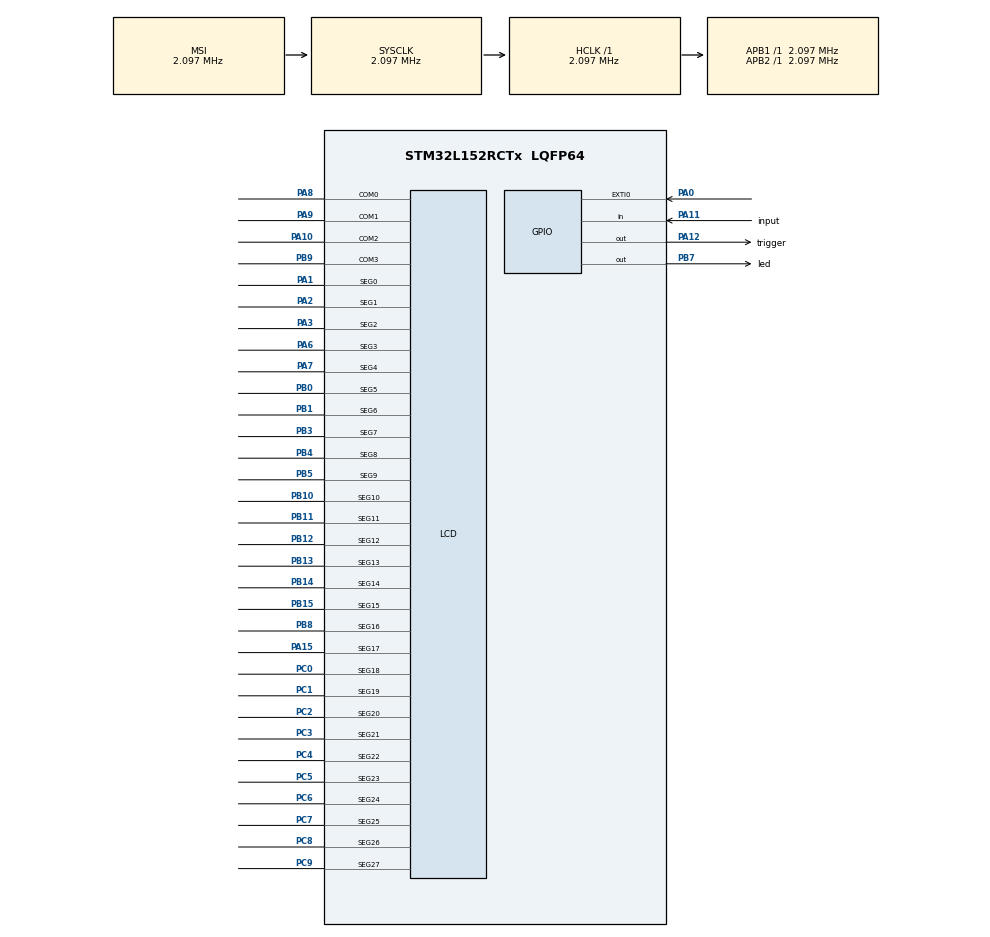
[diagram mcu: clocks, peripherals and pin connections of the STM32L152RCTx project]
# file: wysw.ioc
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Mcu.Family=STM32L1
Mcu.Name=STM32L152RCTx
Mcu.Package=LQFP64
NVIC.EXTI0_IRQn=true\:0\:0\:false\:false\:true\:true
NVIC.PriorityGroup=NVIC_PRIORITYGROUP_4
NVIC.TIM2_IRQn=true\:0\:0\:false\:false\:true\:true
PA0-WKUP1.Signal=GPXTI0
PA1.Mode=SEG0
PA1.Signal=LCD_SEG0
PA10.Mode=1/4 Duty Cycle
PA10.Signal=LCD_COM2
PA11.GPIO_Label=input
PA11.Signal=GPIO_Input
PA12.GPIO_Label=trigger
PA12.Signal=GPIO_Output
PA15.Mode=SEG17
PA15.Signal=LCD_SEG17
PA2.Mode=SEG1
PA2.Signal=LCD_SEG1
PA3.Mode=SEG2
PA3.Signal=LCD_SEG2
PA6.Mode=SEG3
PA6.Signal=LCD_SEG3
PA7.Mode=SEG4
PA7.Signal=LCD_SEG4
PA8.Mode=1/4 Duty Cycle
PA8.Signal=LCD_COM0
PA9.Mode=1/4 Duty Cycle
PA9.Signal=LCD_COM1
PB0.Mode=SEG5
PB0.Signal=LCD_SEG5
PB1.Mode=SEG6
PB1.Signal=LCD_SEG6
PB10.Mode=SEG10
PB10.Signal=LCD_SEG10
PB11.Mode=SEG11
PB11.Signal=LCD_SEG11
PB12.Mode=SEG12
PB12.Signal=LCD_SEG12
PB13.Mode=SEG13
PB13.Signal=LCD_SEG13
PB14.Mode=SEG14
PB14.Signal=LCD_SEG14
PB15.Mode=SEG15
PB15.Signal=LCD_SEG15
PB3.Mode=SEG7
PB3.Signal=LCD_SEG7
PB4.Mode=SEG8
PB4.Signal=LCD_SEG8
PB5.Mode=SEG9
PB5.Signal=LCD_SEG9
PB7.GPIO_Label=led
PB7.Signal=GPIO_Output
PB8.Mode=SEG16
PB8.Signal=LCD_SEG16
PB9.Mode=1/4 Duty Cycle
PB9.Signal=LCD_COM3
PC0.Mode=SEG18
PC0.Signal=LCD_SEG18
PC1.Mode=SEG19
PC1.Signal=LCD_SEG19
PC14-OSC32_IN.Mode=LSE-External-Clock-Source
PC14-OSC32_IN.Signal=RCC_OSC32_IN
PC2.Mode=SEG20
PC2.Signal=LCD_SEG20
PC3.Mode=SEG21
PC3.Signal=LCD_SEG21
PC4.Mode=SEG22
PC4.Signal=LCD_SEG22
PC5.Mode=SEG23
PC5.Signal=LCD_SEG23
PC6.Mode=SEG24
PC6.Signal=LCD_SEG24
PC7.Mode=SEG25
PC7.Signal=LCD_SEG25
PC8.Mode=SEG26
PC8.Signal=LCD_SEG26
PC9.Mode=SEG27
PC9.Signal=LCD_SEG27
PH0-OSC_IN.Mode=HSE-External-Clock-Source
PH0-OSC_IN.Signal=RCC_OSC_IN
ProjectManager.HeapSize=0x200
ProjectManager.StackSize=0x400
ProjectManager.TargetToolchain=SW4STM32
RCC.AHBFreq_Value=2097000
RCC.APB1Freq_Value=2097000
RCC.APB2Freq_Value=2097000
RCC.HSE_VALUE=24000000
RCC.HSI_VALUE=16000000
RCC.LSE_VALUE=32768
RCC.MSI_VALUE=2097000
RCC.SYSCLKFreq_VALUE=2097000
RCC.VCOOutputFreq_Value=48000000
TIM2.Period=10
TIM2.Prescaler=15
VP_LCD_LCD_mux.Mode=Multiplex
VP_RTC_VS_RTC_Activate.Mode=RTC_Enabled
VP_TIM2_VS_ClockSourceINT.Mode=Internal
board=wysw

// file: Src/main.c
/**
  ******************************************************************************
  * @file           : main.c
  * @brief          : Main program body
  ******************************************************************************
  ** This notice applies to any and all portions of this file
  * that are not between comment pairs USER CODE BEGIN and
  * USER CODE END. Other portions of this file, whether
  * inserted by the user or by software development tools
  * are owned by their respective copyright owners.
  *
  * COPYRIGHT(c) 2018 STMicroelectronics
  *
  * Redistribution and use in source and binary forms, with or without modification,
  * are permitted provided that the following conditions are met:
  *   1. Redistributions of source code must retain the above copyright notice,
  *      this list of conditions and the following disclaimer.
  *   2. Redistributions in binary form must reproduce the above copyright notice,
  *      this list of conditions and the following disclaimer in the documentation
  *      and/or other materials provided with the distribution.
  *   3. Neither the name of STMicroelectronics nor the names of its contributors
  *      may be used to endorse or promote products derived from this software
  *      without specific prior written permission.
  *
  * THIS SOFTWARE IS PROVIDED BY THE COPYRIGHT HOLDERS AND CONTRIBUTORS "AS IS"
  * AND ANY EXPRESS OR IMPLIED WARRANTIES, INCLUDING, BUT NOT LIMITED TO, THE
  * IMPLIED WARRANTIES OF MERCHANTABILITY AND FITNESS FOR A PARTICULAR PURPOSE ARE
  * DISCLAIMED. IN NO EVENT SHALL THE COPYRIGHT HOLDER OR CONTRIBUTORS BE LIABLE
  * FOR ANY DIRECT, INDIRECT, INCIDENTAL, SPECIAL, EXEMPLARY, OR CONSEQUENTIAL
  * DAMAGES (INCLUDING, BUT NOT LIMITED TO, PROCUREMENT OF SUBSTITUTE GOODS OR
  * SERVICES; LOSS OF USE, DATA, OR PROFITS; OR BUSINESS INTERRUPTION) HOWEVER
  * CAUSED AND ON ANY THEORY OF LIABILITY, WHETHER IN CONTRACT, STRICT LIABILITY,
  * OR TORT (INCLUDING NEGLIGENCE OR OTHERWISE) ARISING IN ANY WAY OUT OF THE USE
  * OF THIS SOFTWARE, EVEN IF ADVISED OF THE POSSIBILITY OF SUCH DAMAGE.
  *
  ******************************************************************************
  */
#include "main.h"
#include "stm32l1xx_hal.h"

LCD_HandleTypeDef hlcd;

RTC_HandleTypeDef hrtc;

TIM_HandleTypeDef htim2;

/* USER CODE BEGIN PV */
/* Private variables ---------------------------------------------------------*/
uint32_t i=0;
float Odeglosc;
uint32_t liczba;
/* USER CODE END PV */

void SystemClock_Config(void);
static void MX_GPIO_Init(void);
static void MX_RTC_Init(void);
static void MX_LCD_Init(void);
static void MX_TIM2_Init(void);

/* USER CODE BEGIN PFP */
/* Private function prototypes -----------------------------------------------*/
float HCSR04READ(void);
/* USER CODE END PFP */

/* USER CODE BEGIN 0 */
//timer który jest tak wyskalowany ¿eby liczy³ czas w us
void HAL_TIM_PeriodElapsedCallback(TIM_HandleTypeDef*htim)
{
	if(htim->Instance==TIM2)
		{
			//if(HAL_GPIO_ReadPin(input_GPIO_Port,input_Pin)==1){
				i++;
			//}
		}
}
//Funkcje odpowiadaj¹ce za wytworzenie opóŸnienia w us
uint32_t getUs(void) {
//funckja getsysclockfreq zwraca czestotliwosc zegara
//dziele ja przez 1000000 zeby otrzymac us
uint32_t usTicks = HAL_RCC_GetSysClockFreq() / 1000000;
register uint32_t ms, cycle_cnt;
do {
ms = HAL_GetTick();
cycle_cnt = SysTick->VAL;
} while (ms != HAL_GetTick());
return (ms * 1000) + (usTicks * 1000 - cycle_cnt) / usTicks;
}

void delayUs(uint16_t micros) {
uint32_t start = getUs();
while (getUs()-start < (uint32_t) micros) {
}
}
//g³ówna funkcja uruchamiaj¹ca i zliczaj¹ca z czujnika odleg³oœci
float HCSR04READ(void)
{
 uint32_t timeout;
 float dystans = 0;
 //Sygnal niski na  pin trigger
 HAL_GPIO_WritePin(trigger_GPIO_Port,trigger_Pin,GPIO_PIN_RESET);
 //Opóznienie 2us
delayUs(2);
 //Sygnal wysoki na trigger
 HAL_GPIO_WritePin(trigger_GPIO_Port,trigger_Pin,GPIO_PIN_SET);
 //Opóznienie 10 us
 delayUs(10);
 //Sygnal niski na trigger
 HAL_GPIO_WritePin(trigger_GPIO_Port,trigger_Pin,GPIO_PIN_RESET);
 //Po takiej inicjalizacji nastepuje dokonanie pomiarow

 //Troche czasu na odpowiedz
 timeout = 1000000;
 while (HAL_GPIO_ReadPin(input_GPIO_Port,input_Pin) == 0)
  {
	 //jesli do tego czasu odpowiedz nie dotrze to funkcja zwraca -1 czyli blad
   if (timeout-- == 0x00)
   {
    return -1;
   }
  }

 //Rozpoczecie pomiaru czasu impulsu
 HAL_TIM_Base_Start_IT(&htim2);
 //Petla while czeka do momentu kiedy sygnal bedzie 0
 //czyli kiedy sygnal przestanie byc odpierany
 //bo odleglosc jest obliczana nie na podstawie czasu otrzymania sygnalu
 //a na podstawie dlugosci sygnalu w stanie wysokim
 while (HAL_GPIO_ReadPin(input_GPIO_Port,input_Pin) == 1);
 //Pobranie czasu trwania stanu wysokiego
 //i zatrzymanie timera
 HAL_TIM_Base_Stop_IT(&htim2);
 //Obliczenie odleglosci
 dystans = (float) i / 70.0;
 i=0;
 //Zwrócenie odleglosci
 return dystans;
}

/* USER CODE END 0 */

int main(void)
{

  /* MCU Configuration----------------------------------------------------------*/

  /* Reset of all peripherals, Initializes the Flash interface and the Systick. */
  HAL_Init();

  /* Configure the system clock */
  SystemClock_Config();

  /* Initialize all configured peripherals */
  MX_GPIO_Init();
  MX_RTC_Init();
  MX_LCD_Init();
  MX_TIM2_Init();
  /* USER CODE BEGIN 2 */
HAL_GPIO_WritePin(led_GPIO_Port,led_Pin,1);
BSP_LCD_GLASS_Init();

  /* USER CODE END 2 */

  /* Infinite loop */
  while (1)
  {

  /* USER CODE BEGIN 3 */
	  Odeglosc = HCSR04READ();
	  HAL_Delay(500);
  }
  /* USER CODE END 3 */

}

void SystemClock_Config(void)
{

  RCC_OscInitTypeDef RCC_OscInitStruct;
  RCC_ClkInitTypeDef RCC_ClkInitStruct;
  RCC_PeriphCLKInitTypeDef PeriphClkInit;

    /**Configure the main internal regulator output voltage
    */
  __HAL_PWR_VOLTAGESCALING_CONFIG(PWR_REGULATOR_VOLTAGE_SCALE1);

    /**Initializes the CPU, AHB and APB busses clocks
    */
  RCC_OscInitStruct.OscillatorType = RCC_OSCILLATORTYPE_LSI|RCC_OSCILLATORTYPE_MSI;
  RCC_OscInitStruct.LSIState = RCC_LSI_ON;
  RCC_OscInitStruct.MSIState = RCC_MSI_ON;
  RCC_OscInitStruct.MSICalibrationValue = 0;
  RCC_OscInitStruct.MSIClockRange = RCC_MSIRANGE_5;
  RCC_OscInitStruct.PLL.PLLState = RCC_PLL_NONE;
  if (HAL_RCC_OscConfig(&RCC_OscInitStruct) != HAL_OK)
  {
    _Error_Handler(__FILE__, __LINE__);
  }

    /**Initializes the CPU, AHB and APB busses clocks
    */
  RCC_ClkInitStruct.ClockType = RCC_CLOCKTYPE_HCLK|RCC_CLOCKTYPE_SYSCLK
                              |RCC_CLOCKTYPE_PCLK1|RCC_CLOCKTYPE_PCLK2;
  RCC_ClkInitStruct.SYSCLKSource = RCC_SYSCLKSOURCE_MSI;
  RCC_ClkInitStruct.AHBCLKDivider = RCC_SYSCLK_DIV1;
  RCC_ClkInitStruct.APB1CLKDivider = RCC_HCLK_DIV1;
  RCC_ClkInitStruct.APB2CLKDivider = RCC_HCLK_DIV1;

  if (HAL_RCC_ClockConfig(&RCC_ClkInitStruct, FLASH_LATENCY_0) != HAL_OK)
  {
    _Error_Handler(__FILE__, __LINE__);
  }

  PeriphClkInit.PeriphClockSelection = RCC_PERIPHCLK_RTC|RCC_PERIPHCLK_LCD;
  PeriphClkInit.RTCClockSelection = RCC_RTCCLKSOURCE_LSI;
  PeriphClkInit.LCDClockSelection = RCC_RTCCLKSOURCE_LSI;

  if (HAL_RCCEx_PeriphCLKConfig(&PeriphClkInit) != HAL_OK)
  {
    _Error_Handler(__FILE__, __LINE__);
  }

    /**Configure the Systick interrupt time
    */
  HAL_SYSTICK_Config(HAL_RCC_GetHCLKFreq()/1000);

    /**Configure the Systick
    */
  HAL_SYSTICK_CLKSourceConfig(SYSTICK_CLKSOURCE_HCLK);

  /* SysTick_IRQn interrupt configuration */
  HAL_NVIC_SetPriority(SysTick_IRQn, 0, 0);
}

/* LCD init function */
static void MX_LCD_Init(void)
{

  hlcd.Instance = LCD;
  hlcd.Init.Prescaler = LCD_PRESCALER_1;
  hlcd.Init.Divider = LCD_DIVIDER_16;
  hlcd.Init.Duty = LCD_DUTY_1_4;
  hlcd.Init.Bias = LCD_BIAS_1_4;
  hlcd.Init.VoltageSource = LCD_VOLTAGESOURCE_INTERNAL;
  hlcd.Init.Contrast = LCD_CONTRASTLEVEL_0;
  hlcd.Init.DeadTime = LCD_DEADTIME_0;
  hlcd.Init.PulseOnDuration = LCD_PULSEONDURATION_0;
  hlcd.Init.MuxSegment = LCD_MUXSEGMENT_ENABLE;
  hlcd.Init.BlinkMode = LCD_BLINKMODE_OFF;
  hlcd.Init.BlinkFrequency = LCD_BLINKFREQUENCY_DIV8;
  if (HAL_LCD_Init(&hlcd) != HAL_OK)
  {
    _Error_Handler(__FILE__, __LINE__);
  }

}

/* RTC init function */
static void MX_RTC_Init(void)
{

    /**Initialize RTC Only
    */
  hrtc.Instance = RTC;
  hrtc.Init.HourFormat = RTC_HOURFORMAT_24;
  hrtc.Init.AsynchPrediv = 127;
  hrtc.Init.SynchPrediv = 255;
  hrtc.Init.OutPut = RTC_OUTPUT_DISABLE;
  hrtc.Init.OutPutPolarity = RTC_OUTPUT_POLARITY_HIGH;
  hrtc.Init.OutPutType = RTC_OUTPUT_TYPE_OPENDRAIN;
  if (HAL_RTC_Init(&hrtc) != HAL_OK)
  {
    _Error_Handler(__FILE__, __LINE__);
  }

}

/* TIM2 init function */
static void MX_TIM2_Init(void)
{

  TIM_ClockConfigTypeDef sClockSourceConfig;
  TIM_MasterConfigTypeDef sMasterConfig;

  htim2.Instance = TIM2;
  htim2.Init.Prescaler = 15;
  htim2.Init.CounterMode = TIM_COUNTERMODE_UP;
  htim2.Init.Period = 10;
  htim2.Init.ClockDivision = TIM_CLOCKDIVISION_DIV1;
  if (HAL_TIM_Base_Init(&htim2) != HAL_OK)
  {
    _Error_Handler(__FILE__, __LINE__);
  }

  sClockSourceConfig.ClockSource = TIM_CLOCKSOURCE_INTERNAL;
  if (HAL_TIM_ConfigClockSource(&htim2, &sClockSourceConfig) != HAL_OK)
  {
    _Error_Handler(__FILE__, __LINE__);
  }

  sMasterConfig.MasterOutputTrigger = TIM_TRGO_RESET;
  sMasterConfig.MasterSlaveMode = TIM_MASTERSLAVEMODE_DISABLE;
  if (HAL_TIMEx_MasterConfigSynchronization(&htim2, &sMasterConfig) != HAL_OK)
  {
    _Error_Handler(__FILE__, __LINE__);
  }

}

/** Configure pins as
        * Analog
        * Input
        * Output
        * EVENT_OUT
        * EXTI
*/
static void MX_GPIO_Init(void)
{

  GPIO_InitTypeDef GPIO_InitStruct;

  /* GPIO Ports Clock Enable */
  __HAL_RCC_GPIOC_CLK_ENABLE();
  __HAL_RCC_GPIOH_CLK_ENABLE();
  __HAL_RCC_GPIOA_CLK_ENABLE();
  __HAL_RCC_GPIOB_CLK_ENABLE();

  /*Configure GPIO pin Output Level */
  HAL_GPIO_WritePin(trigger_GPIO_Port, trigger_Pin, GPIO_PIN_RESET);

  /*Configure GPIO pin Output Level */
  HAL_GPIO_WritePin(led_GPIO_Port, led_Pin, GPIO_PIN_RESET);

  /*Configure GPIO pin : PA0 */
  GPIO_InitStruct.Pin = GPIO_PIN_0;
  GPIO_InitStruct.Mode = GPIO_MODE_IT_RISING;
  GPIO_InitStruct.Pull = GPIO_NOPULL;
  HAL_GPIO_Init(GPIOA, &GPIO_InitStruct);

  /*Configure GPIO pin : input_Pin */
  GPIO_InitStruct.Pin = input_Pin;
  GPIO_InitStruct.Mode = GPIO_MODE_INPUT;
  GPIO_InitStruct.Pull = GPIO_NOPULL;
  HAL_GPIO_Init(input_GPIO_Port, &GPIO_InitStruct);

  /*Configure GPIO pin : trigger_Pin */
  GPIO_InitStruct.Pin = trigger_Pin;
  GPIO_InitStruct.Mode = GPIO_MODE_OUTPUT_PP;
  GPIO_InitStruct.Pull = GPIO_NOPULL;
  GPIO_InitStruct.Speed = GPIO_SPEED_FREQ_LOW;
  HAL_GPIO_Init(trigger_GPIO_Port, &GPIO_InitStruct);

  /*Configure GPIO pin : led_Pin */
  GPIO_InitStruct.Pin = led_Pin;
  GPIO_InitStruct.Mode = GPIO_MODE_OUTPUT_PP;
  GPIO_InitStruct.Pull = GPIO_NOPULL;
  GPIO_InitStruct.Speed = GPIO_SPEED_FREQ_LOW;
  HAL_GPIO_Init(led_GPIO_Port, &GPIO_InitStruct);

  /* EXTI interrupt init*/
  HAL_NVIC_SetPriority(EXTI0_IRQn, 0, 0);
  HAL_NVIC_EnableIRQ(EXTI0_IRQn);

}

void _Error_Handler(char *file, int line)
{
  while(1)
  {
  }
}

/************************ (C) COPYRIGHT STMicroelectronics *****END OF FILE****/
